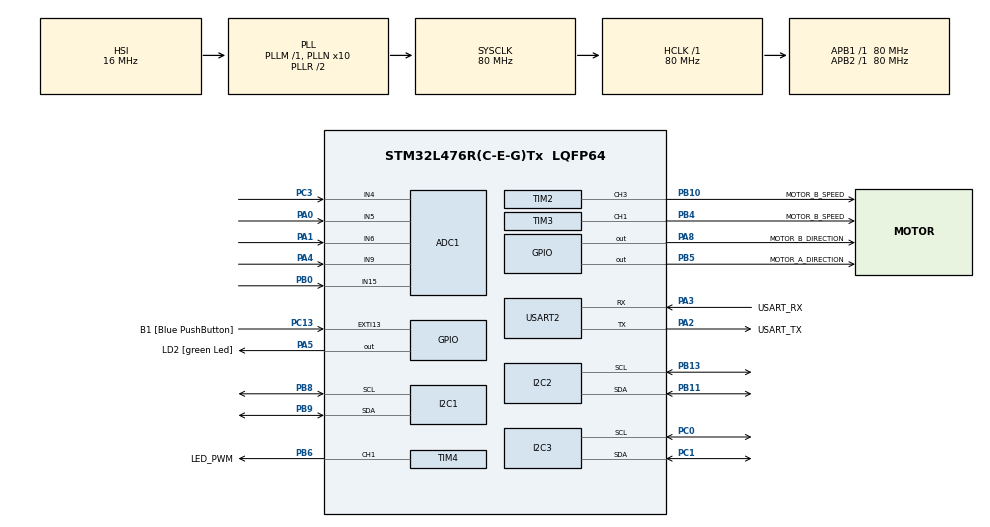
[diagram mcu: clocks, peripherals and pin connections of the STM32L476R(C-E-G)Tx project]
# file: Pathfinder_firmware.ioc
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ADC1.Channel-0\#ChannelRegularConversion=ADC_CHANNEL_4
ADC1.Channel-1\#ChannelRegularConversion=ADC_CHANNEL_5
ADC1.Channel-2\#ChannelRegularConversion=ADC_CHANNEL_6
ADC1.Channel-3\#ChannelRegularConversion=ADC_CHANNEL_9
ADC1.Channel-4\#ChannelRegularConversion=ADC_CHANNEL_15
ADC1.NbrOfConversion=5
ADC1.NbrOfConversionFlag=1
ADC1.OffsetNumber-0\#ChannelRegularConversion=ADC_OFFSET_NONE
ADC1.OffsetNumber-1\#ChannelRegularConversion=ADC_OFFSET_NONE
ADC1.OffsetNumber-2\#ChannelRegularConversion=ADC_OFFSET_NONE
ADC1.OffsetNumber-3\#ChannelRegularConversion=ADC_OFFSET_NONE
ADC1.OffsetNumber-4\#ChannelRegularConversion=ADC_OFFSET_NONE
ADC1.Rank-0\#ChannelRegularConversion=1
ADC1.Rank-1\#ChannelRegularConversion=2
ADC1.Rank-2\#ChannelRegularConversion=3
ADC1.Rank-3\#ChannelRegularConversion=4
ADC1.Rank-4\#ChannelRegularConversion=5
ADC1.SamplingTime-0\#ChannelRegularConversion=ADC_SAMPLETIME_640CYCLES_5
ADC1.SamplingTime-1\#ChannelRegularConversion=ADC_SAMPLETIME_640CYCLES_5
ADC1.SamplingTime-2\#ChannelRegularConversion=ADC_SAMPLETIME_640CYCLES_5
ADC1.SamplingTime-3\#ChannelRegularConversion=ADC_SAMPLETIME_640CYCLES_5
ADC1.SamplingTime-4\#ChannelRegularConversion=ADC_SAMPLETIME_640CYCLES_5
ADC1.master=1
I2C1.Timing=0x10D19CE4
I2C2.Timing=0x10D19CE4
I2C3.Timing=0x10D19CE4
Mcu.Family=STM32L4
Mcu.Name=STM32L476R(C-E-G)Tx
Mcu.Package=LQFP64
NVIC.PriorityGroup=NVIC_PRIORITYGROUP_4
NVIC.USART2_IRQn=true\:1\:0\:true\:false\:true\:true\:true\:true
PA0.Signal=ADCx_IN5
PA1.Signal=ADCx_IN6
PA13\ (JTMS-SWDIO).GPIO_Label=TMS
PA13\ (JTMS-SWDIO).Mode=Serial_Wire
PA13\ (JTMS-SWDIO).Signal=SYS_JTMS-SWDIO
PA14\ (JTCK-SWCLK).GPIO_Label=TCK
PA14\ (JTCK-SWCLK).Mode=Serial_Wire
PA14\ (JTCK-SWCLK).Signal=SYS_JTCK-SWCLK
PA2.GPIO_Label=USART_TX
PA2.GPIO_Mode=GPIO_MODE_AF_PP
PA2.GPIO_PuPd=GPIO_NOPULL
PA2.GPIO_Speed=GPIO_SPEED_FREQ_VERY_HIGH
PA2.Mode=Asynchronous
PA2.Signal=USART2_TX
PA3.GPIO_Label=USART_RX
PA3.GPIO_Mode=GPIO_MODE_AF_PP
PA3.GPIO_PuPd=GPIO_NOPULL
PA3.GPIO_Speed=GPIO_SPEED_FREQ_VERY_HIGH
PA3.Mode=Asynchronous
PA3.Signal=USART2_RX
PA4.Signal=ADCx_IN9
PA5.GPIO_Label=LD2 [green Led]
PA5.GPIO_ModeDefaultOutputPP=GPIO_MODE_OUTPUT_PP
PA5.GPIO_PuPd=GPIO_NOPULL
PA5.GPIO_Speed=GPIO_SPEED_FREQ_LOW
PA5.Signal=GPIO_Output
PA8.GPIO_Label=MOTOR_B_DIRECTION
PA8.Signal=GPIO_Output
PB0.Signal=ADCx_IN15
PB10.GPIO_Label=MOTOR_B_SPEED
PB10.Signal=S_TIM2_CH3
PB11.Mode=I2C
PB11.Signal=I2C2_SDA
PB13.Mode=I2C
PB13.Signal=I2C2_SCL
PB3\ (JTDO-TRACESWO).GPIO_Label=SWO
PB3\ (JTDO-TRACESWO).Signal=SYS_JTDO-SWO
PB4\ (NJTRST).GPIO_Label=MOTOR_B_SPEED
PB4\ (NJTRST).Signal=S_TIM3_CH1
PB5.GPIO_Label=MOTOR_A_DIRECTION
PB5.Signal=GPIO_Output
PB6.GPIO_Label=LED_PWM
PB6.Signal=S_TIM4_CH1
PB8.Mode=I2C
PB8.Signal=I2C1_SCL
PB9.Mode=I2C
PB9.Signal=I2C1_SDA
PC0.Mode=I2C
PC0.Signal=I2C3_SCL
PC1.Mode=I2C
PC1.Signal=I2C3_SDA
PC13.GPIO_Label=B1 [Blue PushButton]
PC13.GPIO_ModeDefaultEXTI=GPIO_MODE_IT_FALLING
PC13.GPIO_PuPd=GPIO_NOPULL
PC13.Signal=GPXTI13
PC14-OSC32_IN\ (PC14).Mode=LSE-External-Oscillator
PC14-OSC32_IN\ (PC14).Signal=RCC_OSC32_IN
PC15-OSC32_OUT\ (PC15).Mode=LSE-External-Oscillator
PC15-OSC32_OUT\ (PC15).Signal=RCC_OSC32_OUT
PC3.Signal=ADCx_IN4
PH0-OSC_IN\ (PH0).Signal=RCC_OSC_IN
PH1-OSC_OUT\ (PH1).Signal=RCC_OSC_OUT
ProjectManager.HeapSize=0x200
ProjectManager.StackSize=0x400
ProjectManager.TargetToolchain=STM32CubeIDE
RCC.ADCFreq_Value=64000000
RCC.AHBFreq_Value=80000000
RCC.APB1Freq_Value=80000000
RCC.APB1TimFreq_Value=80000000
RCC.APB2Freq_Value=80000000
RCC.APB2TimFreq_Value=80000000
RCC.CortexFreq_Value=80000000
RCC.HCLKFreq_Value=80000000
RCC.HSE_VALUE=8000000
RCC.HSI_VALUE=16000000
RCC.MSI_VALUE=4000000
RCC.PLLN=10
RCC.PLLSourceVirtual=RCC_PLLSOURCE_HSI
RCC.PREFETCH_ENABLE=1
RCC.SYSCLKFreq_VALUE=80000000
RCC.SYSCLKSource=RCC_SYSCLKSOURCE_PLLCLK
RCC.USBFreq_Value=64000000
RCC.VCOOutputFreq_Value=160000000
SH.ADCx_IN15.0=ADC1_IN15,IN15-Single-Ended
SH.ADCx_IN4.0=ADC1_IN4,IN4-Single-Ended
SH.ADCx_IN5.0=ADC1_IN5,IN5-Single-Ended
SH.ADCx_IN6.0=ADC1_IN6,IN6-Single-Ended
SH.ADCx_IN9.0=ADC1_IN9,IN9-Single-Ended
SH.S_TIM2_CH3.0=TIM2_CH3,PWM Generation3 CH3
SH.S_TIM3_CH1.0=TIM3_CH1,PWM Generation1 CH1
SH.S_TIM4_CH1.0=TIM4_CH1,PWM Generation1 CH1
TIM2.AutoReloadPreload=TIM_AUTORELOAD_PRELOAD_ENABLE
TIM2.Channel-PWM\ Generation3\ CH3=TIM_CHANNEL_3
TIM2.Period=99
TIM2.Prescaler=39
TIM3.AutoReloadPreload=TIM_AUTORELOAD_PRELOAD_ENABLE
TIM3.Channel-PWM\ Generation1\ CH1=TIM_CHANNEL_1
TIM3.Period=99
TIM3.Prescaler=39
TIM4.AutoReloadPreload=TIM_AUTORELOAD_PRELOAD_ENABLE
TIM4.Channel-PWM\ Generation1\ CH1=TIM_CHANNEL_1
TIM4.Period=99
TIM4.Prescaler=39
USART2.VirtualMode-Asynchronous=VM_ASYNC
VP_TIM2_VS_ClockSourceINT.Mode=Internal
VP_TIM3_VS_ClockSourceINT.Mode=Internal
VP_TIM4_VS_ClockSourceINT.Mode=Internal
board=NUCLEO-L476RG

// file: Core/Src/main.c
/* USER CODE BEGIN Header */
/**
  ******************************************************************************
  * @file           : main.c
  * @brief          : Main program body
  ******************************************************************************
  * @attention
  *
  * Copyright (c) 2024 STMicroelectronics.
  * All rights reserved.
  *
  * This software is licensed under terms that can be found in the LICENSE file
  * in the root directory of this software component.
  * If no LICENSE file comes with this software, it is provided AS-IS.
  *
  ******************************************************************************
  */
/* USER CODE END Header */
#include "main.h"

/* USER CODE BEGIN Includes */
#include <stdlib.h>
#include <string.h>
#include "robot.pb.h"
#include "pb_encode.h"
#include <math.h>
#include "cJSON.h"
/* USER CODE END Includes */

/* USER CODE BEGIN PD */
#define MPU6050_ADDR (0x68 << 1)
#define AS5600_I2C_ADDR (0x36 << 1)
#define WHEEL_RADIUS  0.03  // 3 cm
#define WHEEL_BASE    0.175  // 15 cm
#define TICKS_PER_REV 4096  // AS5600 resolution
#define ACCEL_SCALE 16384.0 // 16384 LSB/g for ±2g
#define GYRO_SCALE  131.0   // 131 LSB/(°/s) for ±250°/s
#define TEMP_SCALE  340.0
#define TEMP_OFFSET 36.53
/* USER CODE END PD */

ADC_HandleTypeDef hadc1;

I2C_HandleTypeDef hi2c1;
I2C_HandleTypeDef hi2c2;
I2C_HandleTypeDef hi2c3;

TIM_HandleTypeDef htim2;
TIM_HandleTypeDef htim3;
TIM_HandleTypeDef htim4;

UART_HandleTypeDef huart2;

/* USER CODE BEGIN PV */
uint8_t low_bytes_angle_data = 0;
uint8_t high_bytes_angle_data = 0;
volatile uint16_t raw_angle;

uint8_t low_bytes_angle_data_2 = 0;
uint8_t high_bytes_angle_data_2 = 0;
volatile uint16_t raw_angle_2;

uint8_t sign;
uint8_t receivedSign;
uint8_t messageCursor = 0;
uint8_t frameCursor = 0;
char messageReceived[50];
uint64_t frameReceived[10];
float sensorsValues[5];
char msg[100];

float x_pos = 0.0, y_pos = 0.0, theta = 0.0;
uint16_t prev_angle_L = 0, prev_angle_R = 0;

int16_t Accel[3], Gyro[3], Temp;
float Accel_f[3], Gyro_f[3], Temp_f;

enum Communication{
	EMERGENCY_STOP,
	MOVE_FORWARD,
	MOVE_REVERSE,
	TURN_LEFT,
	TURN_RIGHT,
	SET_MOVMENT_SPEED,
	GET_ROBOT_DATA = 7,
	SET_LED_BRIGHTNESS

};

//typedef struct {
//    int sensorValue1;
//    int sensorValue2;
//    int sensorValue3;
//    int sensorValue4;
//    int sensorValue5;
//    float xPos;
//    float yPos;
//    float theta;
//} RobotData;

void setMovmentSpeed(int motorA,int motorB) {
	uint8_t motorAOutput = motorA;
	uint8_t motorBOutput = motorB;
	if(motorA<=100)HAL_GPIO_WritePin(MOTOR_A_DIRECTION_GPIO_Port,MOTOR_A_DIRECTION_Pin , GPIO_PIN_RESET);
	else
	{
		HAL_GPIO_WritePin(MOTOR_A_DIRECTION_GPIO_Port,MOTOR_A_DIRECTION_Pin , GPIO_PIN_SET);
		motorAOutput = motorAOutput - 100;
	}

	if(motorB<=100)HAL_GPIO_WritePin(MOTOR_B_DIRECTION_GPIO_Port,MOTOR_B_DIRECTION_Pin , GPIO_PIN_RESET);
	else
	{
		HAL_GPIO_WritePin(MOTOR_B_DIRECTION_GPIO_Port,MOTOR_B_DIRECTION_Pin , GPIO_PIN_SET);
		motorBOutput = motorBOutput - 100;
	}

	if(motorA!=0){
			__HAL_TIM_SET_COMPARE(&htim3,TIM_CHANNEL_1,motorAOutput);
	}
	else
	{
		__HAL_TIM_SET_COMPARE(&htim3,TIM_CHANNEL_1,0);
	}

	if(motorB!=0){
		__HAL_TIM_SET_COMPARE(&htim2,TIM_CHANNEL_3,motorBOutput);
	}
	else
	{
		__HAL_TIM_SET_COMPARE(&htim2,TIM_CHANNEL_3,0);
	}

}
void emergencyStop() {
	HAL_GPIO_WritePin(MOTOR_A_DIRECTION_GPIO_Port,MOTOR_A_DIRECTION_Pin , GPIO_PIN_RESET);
	HAL_GPIO_WritePin(MOTOR_B_DIRECTION_GPIO_Port,MOTOR_B_DIRECTION_Pin , GPIO_PIN_RESET);

	__HAL_TIM_SET_COMPARE(&htim2,TIM_CHANNEL_3,0);
	__HAL_TIM_SET_COMPARE(&htim3,TIM_CHANNEL_1,0);
}

void moveForward() {
	HAL_GPIO_WritePin(MOTOR_A_DIRECTION_GPIO_Port,MOTOR_A_DIRECTION_Pin , GPIO_PIN_SET);
	HAL_GPIO_WritePin(MOTOR_B_DIRECTION_GPIO_Port,MOTOR_B_DIRECTION_Pin , GPIO_PIN_RESET);

	__HAL_TIM_SET_COMPARE(&htim2,TIM_CHANNEL_3,100);
	__HAL_TIM_SET_COMPARE(&htim3,TIM_CHANNEL_1,100);
}

void moveReverse() {
	HAL_GPIO_WritePin(MOTOR_A_DIRECTION_GPIO_Port,MOTOR_A_DIRECTION_Pin , GPIO_PIN_RESET);
	HAL_GPIO_WritePin(MOTOR_B_DIRECTION_GPIO_Port,MOTOR_B_DIRECTION_Pin , GPIO_PIN_SET);

	__HAL_TIM_SET_COMPARE(&htim2,TIM_CHANNEL_3,100);
	__HAL_TIM_SET_COMPARE(&htim3,TIM_CHANNEL_1,100);
}

void turnRight() {
	HAL_GPIO_WritePin(MOTOR_A_DIRECTION_GPIO_Port,MOTOR_A_DIRECTION_Pin , GPIO_PIN_RESET);
	HAL_GPIO_WritePin(MOTOR_B_DIRECTION_GPIO_Port,MOTOR_B_DIRECTION_Pin , GPIO_PIN_RESET);

	__HAL_TIM_SET_COMPARE(&htim2,TIM_CHANNEL_3,100);
	__HAL_TIM_SET_COMPARE(&htim3,TIM_CHANNEL_1,100);
}
void turnLeft() {
	HAL_GPIO_WritePin(MOTOR_A_DIRECTION_GPIO_Port,MOTOR_A_DIRECTION_Pin , GPIO_PIN_SET);
	HAL_GPIO_WritePin(MOTOR_B_DIRECTION_GPIO_Port,MOTOR_B_DIRECTION_Pin , GPIO_PIN_SET);

	__HAL_TIM_SET_COMPARE(&htim2,TIM_CHANNEL_3,100);
	__HAL_TIM_SET_COMPARE(&htim3,TIM_CHANNEL_1,100);
}
void getEncoderValue(){
	HAL_I2C_Mem_Read(&hi2c3, AS5600_I2C_ADDR, 0x0D, 1, &low_bytes_angle_data, sizeof(low_bytes_angle_data), HAL_MAX_DELAY);
	HAL_I2C_Mem_Read(&hi2c3, AS5600_I2C_ADDR, 0x0C, 1, &high_bytes_angle_data, sizeof(high_bytes_angle_data), HAL_MAX_DELAY);
	raw_angle = ((high_bytes_angle_data<< 8) | low_bytes_angle_data) & 0x0FFF;
	HAL_I2C_Mem_Read(&hi2c1, AS5600_I2C_ADDR, 0x0D, 1, &low_bytes_angle_data_2, sizeof(low_bytes_angle_data_2), HAL_MAX_DELAY);
	HAL_I2C_Mem_Read(&hi2c1, AS5600_I2C_ADDR, 0x0C, 1, &high_bytes_angle_data_2, sizeof(high_bytes_angle_data_2), HAL_MAX_DELAY);
	raw_angle_2 = ((high_bytes_angle_data_2<< 8) | low_bytes_angle_data_2) & 0x0FFF;
}

void MPU6050_Init() {
    uint8_t check, data;

    // Check if MPU6050 is connected
    HAL_I2C_Mem_Read(&hi2c2, MPU6050_ADDR, 0x75, 1, &check, 1, 1000);
    if (check != 0x68) {
        // MPU6050 not found, handle error
        return;
    }

    // Wake up MPU6050 (Write 0 to Power Management Register)
    data = 0x00;
    HAL_I2C_Mem_Write(&hi2c2, MPU6050_ADDR, 0x6B, 1, &data, 1, 1000);

    // Set accelerometer configuration (±2g)
    data = 0x00;
    HAL_I2C_Mem_Write(&hi2c2, MPU6050_ADDR, 0x1C, 1, &data, 1, 1000);

    // Set gyroscope configuration (±250°/s)
    data = 0x00;
    HAL_I2C_Mem_Write(&hi2c2, MPU6050_ADDR, 0x1B, 1, &data, 1, 1000);
}

void MPU6050_Read_All(int16_t *Accel, int16_t *Gyro, int16_t *Temp) {
    uint8_t data[14];

    // Read 14 bytes from MPU6050 starting at ACCEL_XOUT_H
    HAL_I2C_Mem_Read(&hi2c2, MPU6050_ADDR, 0x3B, 1, data, 14, 1000);

    // Accelerometer values
    Accel[0] = (int16_t)(data[0] << 8 | data[1]);  // X
    Accel[1] = (int16_t)(data[2] << 8 | data[3]);  // Y
    Accel[2] = (int16_t)(data[4] << 8 | data[5]);  // Z

    // Temperature value
    *Temp = (int16_t)(data[6] << 8 | data[7]);

    // Gyroscope values
    Gyro[0] = (int16_t)(data[8] << 8 | data[9]);   // X
    Gyro[1] = (int16_t)(data[10] << 8 | data[11]); // Y
    Gyro[2] = (int16_t)(data[12] << 8 | data[13]); // Z
}

void getSensorValues(){
	HAL_ADC_Start(&hadc1);
	HAL_ADC_PollForConversion(&hadc1, 100);
	sensorsValues[0] = HAL_ADC_GetValue(&hadc1);
	HAL_ADC_PollForConversion(&hadc1, 100);
	sensorsValues[1] = HAL_ADC_GetValue(&hadc1);
	HAL_ADC_PollForConversion(&hadc1, 100);
	sensorsValues[2] = HAL_ADC_GetValue(&hadc1);
	HAL_ADC_PollForConversion(&hadc1, 100);
	sensorsValues[3] = HAL_ADC_GetValue(&hadc1);
	HAL_ADC_PollForConversion(&hadc1, 100);
	sensorsValues[4] = HAL_ADC_GetValue(&hadc1);
//	sprintf(msg, "%f,%f,%f,%f,%f\r\n",sensorsValues[0], sensorsValues[1], sensorsValues[2], sensorsValues[3], sensorsValues[4]);
//	HAL_UART_Transmit_IT(&huart2, (uint8_t*)msg , strlen(msg));

}
void setLedBrightness(int brightness) {
	__HAL_TIM_SET_COMPARE(&htim4,TIM_CHANNEL_1,brightness);
}

float computeDeltaAngle(uint16_t new_angle, uint16_t prev_angle) {
    int16_t delta = new_angle - prev_angle;

    // Handle encoder overflow (angle wrapping)
    if (delta > (TICKS_PER_REV / 2)) {
        delta -= TICKS_PER_REV;  // Counterclockwise overflow
    } else if (delta < -(TICKS_PER_REV / 2)) {
        delta += TICKS_PER_REV;  // Clockwise overflow
    }

    // Convert to radians
    return (delta * 2.0f * M_PI) / TICKS_PER_REV;
}

void updateRobotPosition() {
    // Read new encoder values
    getEncoderValue();

    // Compute angle changes
    float delta_angle_L = computeDeltaAngle(raw_angle, prev_angle_L);
    float delta_angle_R = computeDeltaAngle(raw_angle_2, prev_angle_R);

    // Convert to linear displacement
    float d_L = delta_angle_L * WHEEL_RADIUS;
    float d_R = delta_angle_R * WHEEL_RADIUS;
    float d_C = (d_L + d_R) / 2.0;  // Center displacement
    float d_theta = (d_R - d_L) / WHEEL_BASE;  // Change in orientation

    // Update position
    x_pos += d_C * cos(theta);
    y_pos += d_C * sin(theta);
    theta += d_theta;

    // Keep theta in range [-π, π]
    if (theta > M_PI) {
        theta -= 2.0 * M_PI;
    } else if (theta < -M_PI) {
        theta += 2.0 * M_PI;
    }

    // Store previous angles
    prev_angle_L = raw_angle;
    prev_angle_R = raw_angle_2;
}

void sendRobotData() {
	cJSON *jsonObj = cJSON_CreateObject();

	cJSON_AddNumberToObject(jsonObj, "sensorValue1", sensorsValues[0]);
	cJSON_AddNumberToObject(jsonObj, "sensorValue2", sensorsValues[1]);
	cJSON_AddNumberToObject(jsonObj, "sensorValue3", sensorsValues[2]);
	cJSON_AddNumberToObject(jsonObj, "sensorValue4", sensorsValues[3]);
	cJSON_AddNumberToObject(jsonObj, "sensorValue5", sensorsValues[4]);
	cJSON_AddNumberToObject(jsonObj, "xPos", x_pos);
	cJSON_AddNumberToObject(jsonObj, "yPos", y_pos);
	cJSON_AddNumberToObject(jsonObj, "theta", theta);
	cJSON_AddNumberToObject(jsonObj, "rawAngle1", raw_angle);
	cJSON_AddNumberToObject(jsonObj, "rawAngle2", raw_angle_2);
	cJSON_AddNumberToObject(jsonObj, "xGyro", Gyro_f[0]);
	cJSON_AddNumberToObject(jsonObj, "yGyro", Gyro_f[1]);
	cJSON_AddNumberToObject(jsonObj, "zGyro", Gyro_f[2]);

	cJSON_AddNumberToObject(jsonObj, "xAccel", Accel_f[0]);
	cJSON_AddNumberToObject(jsonObj, "yAccel", Accel_f[1]);
	cJSON_AddNumberToObject(jsonObj, "zAccel", Accel_f[2]);

	cJSON_AddNumberToObject(jsonObj, "Temp", Temp_f);

	    // Convert JSON object to string
	char *jsonString = cJSON_PrintUnformatted(jsonObj);

	// Send JSON string via UART (or any other communication interface)
	// Allocate new buffer: length of JSON + 1 for '\n' + 1 for '\0'
	size_t len = strlen(jsonString);
	char *jsonWithNewline = malloc(len + 2);  // +2 for '\n' and '\0'

	if (jsonWithNewline != NULL) {
	    memcpy(jsonWithNewline, jsonString, len);  // Copy original string
	    jsonWithNewline[len] = '\n';               // Add newline
	    jsonWithNewline[len + 1] = '\0';           // Null terminator

	    HAL_UART_Transmit(&huart2, (uint8_t*)jsonWithNewline, len + 1, 100);  // len+1 includes \n
	    free(jsonWithNewline);
	}

	// Free the JSON object after use
	cJSON_Delete(jsonObj);
	free(jsonString);
}

void Convert_To_Units(int16_t *Accel, int16_t *Gyro, int16_t Temp, float *Accel_f, float *Gyro_f, float *Temp_f) {
    for (int i = 0; i < 3; i++) {
        Accel_f[i] = Accel[i] / ACCEL_SCALE; // g
        Gyro_f[i]  = Gyro[i]  / GYRO_SCALE;  // °/s
    }
    *Temp_f = (Temp / TEMP_SCALE) + TEMP_OFFSET; // °C
}

void Encoders_Init() {
    prev_angle_L = raw_angle;
    prev_angle_R = raw_angle_2;
}

//void sendRobotData2() {
//    uint8_t buffer[128];  // Increased buffer size for more data
//    pb_ostream_t stream = pb_ostream_from_buffer(buffer, sizeof(buffer));
//
//    // Fill Protobuf message
//    RobotData pos = {
//        .sensor_value_1 = sensorsValues[0],
//        .sensor_value_2 = sensorsValues[1],
//        .sensor_value_3 = sensorsValues[2],
//        .sensor_value_4 = sensorsValues[3],
//        .sensor_value_5 = sensorsValues[4],
//        .raw_angle_1 = raw_angle,  // Read from AS5600
//        .raw_angle_2 = raw_angle_2,
//        .x_pos = x_pos,  // Computed position
//        .y_pos = y_pos,
//        .theta = theta
//    };
//
//    // Serialize the data
//    if (!pb_encode(&stream, RobotData_fields, &pos)) {
//        printf("Encoding failed!\n");
//        return;
//    }
//
//    // Send serialized data over UART
//    HAL_UART_Transmit_IT(&huart2, buffer, stream.bytes_written);
//}

/* USER CODE END PV */

void SystemClock_Config(void);
static void MX_GPIO_Init(void);
static void MX_USART2_UART_Init(void);
static void MX_TIM2_Init(void);
static void MX_TIM3_Init(void);
static void MX_TIM4_Init(void);
static void MX_ADC1_Init(void);
static void MX_I2C1_Init(void);
static void MX_I2C3_Init(void);
static void MX_I2C2_Init(void);

int main(void)
{

  /* MCU Configuration--------------------------------------------------------*/

  /* Reset of all peripherals, Initializes the Flash interface and the Systick. */
  HAL_Init();

  /* Configure the system clock */
  SystemClock_Config();

  /* Initialize all configured peripherals */
  MX_GPIO_Init();
  MX_USART2_UART_Init();
  MX_TIM2_Init();
  MX_TIM3_Init();
  MX_TIM4_Init();
  MX_ADC1_Init();
  MX_I2C1_Init();
  MX_I2C3_Init();
  MX_I2C2_Init();
  /* USER CODE BEGIN 2 */
  HAL_UART_Receive_IT(&huart2, &receivedSign, 1);
  HAL_TIM_PWM_Start(&htim2, TIM_CHANNEL_3);
  HAL_TIM_PWM_Start(&htim3, TIM_CHANNEL_1);
  HAL_TIM_PWM_Start(&htim4, TIM_CHANNEL_1);
  HAL_ADCEx_Calibration_Start(&hadc1, ADC_SINGLE_ENDED);

  MPU6050_Init();

  Encoders_Init();

  /* USER CODE END 2 */

  /* Infinite loop */
  /* USER CODE BEGIN WHILE */
  while (1)
  {
	  MPU6050_Read_All(Accel, Gyro, &Temp);
	  Convert_To_Units(Accel, Gyro, Temp, Accel_f, Gyro_f, &Temp_f);
	  updateRobotPosition();
	  getSensorValues();
	  sendRobotData();

    /* USER CODE END WHILE */

  }
}

void SystemClock_Config(void)
{
  RCC_OscInitTypeDef RCC_OscInitStruct = {0};
  RCC_ClkInitTypeDef RCC_ClkInitStruct = {0};

  /** Configure the main internal regulator output voltage
  */
  if (HAL_PWREx_ControlVoltageScaling(PWR_REGULATOR_VOLTAGE_SCALE1) != HAL_OK)
  {
    Error_Handler();
  }

  /** Initializes the RCC Oscillators according to the specified parameters
  * in the RCC_OscInitTypeDef structure.
  */
  RCC_OscInitStruct.OscillatorType = RCC_OSCILLATORTYPE_HSI;
  RCC_OscInitStruct.HSIState = RCC_HSI_ON;
  RCC_OscInitStruct.HSICalibrationValue = RCC_HSICALIBRATION_DEFAULT;
  RCC_OscInitStruct.PLL.PLLState = RCC_PLL_ON;
  RCC_OscInitStruct.PLL.PLLSource = RCC_PLLSOURCE_HSI;
  RCC_OscInitStruct.PLL.PLLM = 1;
  RCC_OscInitStruct.PLL.PLLN = 10;
  RCC_OscInitStruct.PLL.PLLP = RCC_PLLP_DIV7;
  RCC_OscInitStruct.PLL.PLLQ = RCC_PLLQ_DIV2;
  RCC_OscInitStruct.PLL.PLLR = RCC_PLLR_DIV2;
  if (HAL_RCC_OscConfig(&RCC_OscInitStruct) != HAL_OK)
  {
    Error_Handler();
  }

  /** Initializes the CPU, AHB and APB buses clocks
  */
  RCC_ClkInitStruct.ClockType = RCC_CLOCKTYPE_HCLK|RCC_CLOCKTYPE_SYSCLK
                              |RCC_CLOCKTYPE_PCLK1|RCC_CLOCKTYPE_PCLK2;
  RCC_ClkInitStruct.SYSCLKSource = RCC_SYSCLKSOURCE_PLLCLK;
  RCC_ClkInitStruct.AHBCLKDivider = RCC_SYSCLK_DIV1;
  RCC_ClkInitStruct.APB1CLKDivider = RCC_HCLK_DIV1;
  RCC_ClkInitStruct.APB2CLKDivider = RCC_HCLK_DIV1;

  if (HAL_RCC_ClockConfig(&RCC_ClkInitStruct, FLASH_LATENCY_4) != HAL_OK)
  {
    Error_Handler();
  }
}

static void MX_ADC1_Init(void)
{

  ADC_MultiModeTypeDef multimode = {0};
  ADC_ChannelConfTypeDef sConfig = {0};

  /** Common config
  */
  hadc1.Instance = ADC1;
  hadc1.Init.ClockPrescaler = ADC_CLOCK_ASYNC_DIV1;
  hadc1.Init.Resolution = ADC_RESOLUTION_12B;
  hadc1.Init.DataAlign = ADC_DATAALIGN_RIGHT;
  hadc1.Init.ScanConvMode = ADC_SCAN_ENABLE;
  hadc1.Init.EOCSelection = ADC_EOC_SINGLE_CONV;
  hadc1.Init.LowPowerAutoWait = DISABLE;
  hadc1.Init.ContinuousConvMode = DISABLE;
  hadc1.Init.NbrOfConversion = 5;
  hadc1.Init.DiscontinuousConvMode = DISABLE;
  hadc1.Init.ExternalTrigConv = ADC_SOFTWARE_START;
  hadc1.Init.ExternalTrigConvEdge = ADC_EXTERNALTRIGCONVEDGE_NONE;
  hadc1.Init.DMAContinuousRequests = DISABLE;
  hadc1.Init.Overrun = ADC_OVR_DATA_PRESERVED;
  hadc1.Init.OversamplingMode = DISABLE;
  if (HAL_ADC_Init(&hadc1) != HAL_OK)
  {
    Error_Handler();
  }

  /** Configure the ADC multi-mode
  */
  multimode.Mode = ADC_MODE_INDEPENDENT;
  if (HAL_ADCEx_MultiModeConfigChannel(&hadc1, &multimode) != HAL_OK)
  {
    Error_Handler();
  }

  /** Configure Regular Channel
  */
  sConfig.Channel = ADC_CHANNEL_4;
  sConfig.Rank = ADC_REGULAR_RANK_1;
  sConfig.SamplingTime = ADC_SAMPLETIME_640CYCLES_5;
  sConfig.SingleDiff = ADC_SINGLE_ENDED;
  sConfig.OffsetNumber = ADC_OFFSET_NONE;
  sConfig.Offset = 0;
  if (HAL_ADC_ConfigChannel(&hadc1, &sConfig) != HAL_OK)
  {
    Error_Handler();
  }

  /** Configure Regular Channel
  */
  sConfig.Channel = ADC_CHANNEL_5;
  sConfig.Rank = ADC_REGULAR_RANK_2;
  if (HAL_ADC_ConfigChannel(&hadc1, &sConfig) != HAL_OK)
  {
    Error_Handler();
  }

  /** Configure Regular Channel
  */
  sConfig.Channel = ADC_CHANNEL_6;
  sConfig.Rank = ADC_REGULAR_RANK_3;
  if (HAL_ADC_ConfigChannel(&hadc1, &sConfig) != HAL_OK)
  {
    Error_Handler();
  }

  /** Configure Regular Channel
  */
  sConfig.Channel = ADC_CHANNEL_9;
  sConfig.Rank = ADC_REGULAR_RANK_4;
  if (HAL_ADC_ConfigChannel(&hadc1, &sConfig) != HAL_OK)
  {
    Error_Handler();
  }

  /** Configure Regular Channel
  */
  sConfig.Channel = ADC_CHANNEL_15;
  sConfig.Rank = ADC_REGULAR_RANK_5;
  if (HAL_ADC_ConfigChannel(&hadc1, &sConfig) != HAL_OK)
  {
    Error_Handler();
  }

}

static void MX_I2C1_Init(void)
{

  hi2c1.Instance = I2C1;
  hi2c1.Init.Timing = 0x10D19CE4;
  hi2c1.Init.OwnAddress1 = 0;
  hi2c1.Init.AddressingMode = I2C_ADDRESSINGMODE_7BIT;
  hi2c1.Init.DualAddressMode = I2C_DUALADDRESS_DISABLE;
  hi2c1.Init.OwnAddress2 = 0;
  hi2c1.Init.OwnAddress2Masks = I2C_OA2_NOMASK;
  hi2c1.Init.GeneralCallMode = I2C_GENERALCALL_DISABLE;
  hi2c1.Init.NoStretchMode = I2C_NOSTRETCH_DISABLE;
  if (HAL_I2C_Init(&hi2c1) != HAL_OK)
  {
    Error_Handler();
  }

  /** Configure Analogue filter
  */
  if (HAL_I2CEx_ConfigAnalogFilter(&hi2c1, I2C_ANALOGFILTER_ENABLE) != HAL_OK)
  {
    Error_Handler();
  }

  /** Configure Digital filter
  */
  if (HAL_I2CEx_ConfigDigitalFilter(&hi2c1, 0) != HAL_OK)
  {
    Error_Handler();
  }

}

static void MX_I2C2_Init(void)
{

  hi2c2.Instance = I2C2;
  hi2c2.Init.Timing = 0x10D19CE4;
  hi2c2.Init.OwnAddress1 = 0;
  hi2c2.Init.AddressingMode = I2C_ADDRESSINGMODE_7BIT;
  hi2c2.Init.DualAddressMode = I2C_DUALADDRESS_DISABLE;
  hi2c2.Init.OwnAddress2 = 0;
  hi2c2.Init.OwnAddress2Masks = I2C_OA2_NOMASK;
  hi2c2.Init.GeneralCallMode = I2C_GENERALCALL_DISABLE;
  hi2c2.Init.NoStretchMode = I2C_NOSTRETCH_DISABLE;
  if (HAL_I2C_Init(&hi2c2) != HAL_OK)
  {
    Error_Handler();
  }

  /** Configure Analogue filter
  */
  if (HAL_I2CEx_ConfigAnalogFilter(&hi2c2, I2C_ANALOGFILTER_ENABLE) != HAL_OK)
  {
    Error_Handler();
  }

  /** Configure Digital filter
  */
  if (HAL_I2CEx_ConfigDigitalFilter(&hi2c2, 0) != HAL_OK)
  {
    Error_Handler();
  }

}

static void MX_I2C3_Init(void)
{

  hi2c3.Instance = I2C3;
  hi2c3.Init.Timing = 0x10D19CE4;
  hi2c3.Init.OwnAddress1 = 0;
  hi2c3.Init.AddressingMode = I2C_ADDRESSINGMODE_7BIT;
  hi2c3.Init.DualAddressMode = I2C_DUALADDRESS_DISABLE;
  hi2c3.Init.OwnAddress2 = 0;
  hi2c3.Init.OwnAddress2Masks = I2C_OA2_NOMASK;
  hi2c3.Init.GeneralCallMode = I2C_GENERALCALL_DISABLE;
  hi2c3.Init.NoStretchMode = I2C_NOSTRETCH_DISABLE;
  if (HAL_I2C_Init(&hi2c3) != HAL_OK)
  {
    Error_Handler();
  }

  /** Configure Analogue filter
  */
  if (HAL_I2CEx_ConfigAnalogFilter(&hi2c3, I2C_ANALOGFILTER_ENABLE) != HAL_OK)
  {
    Error_Handler();
  }

  /** Configure Digital filter
  */
  if (HAL_I2CEx_ConfigDigitalFilter(&hi2c3, 0) != HAL_OK)
  {
    Error_Handler();
  }

}

static void MX_TIM2_Init(void)
{

  TIM_ClockConfigTypeDef sClockSourceConfig = {0};
  TIM_MasterConfigTypeDef sMasterConfig = {0};
  TIM_OC_InitTypeDef sConfigOC = {0};

  htim2.Instance = TIM2;
  htim2.Init.Prescaler = 39;
  htim2.Init.CounterMode = TIM_COUNTERMODE_UP;
  htim2.Init.Period = 99;
  htim2.Init.ClockDivision = TIM_CLOCKDIVISION_DIV1;
  htim2.Init.AutoReloadPreload = TIM_AUTORELOAD_PRELOAD_ENABLE;
  if (HAL_TIM_Base_Init(&htim2) != HAL_OK)
  {
    Error_Handler();
  }
  sClockSourceConfig.ClockSource = TIM_CLOCKSOURCE_INTERNAL;
  if (HAL_TIM_ConfigClockSource(&htim2, &sClockSourceConfig) != HAL_OK)
  {
    Error_Handler();
  }
  if (HAL_TIM_PWM_Init(&htim2) != HAL_OK)
  {
    Error_Handler();
  }
  sMasterConfig.MasterOutputTrigger = TIM_TRGO_RESET;
  sMasterConfig.MasterSlaveMode = TIM_MASTERSLAVEMODE_DISABLE;
  if (HAL_TIMEx_MasterConfigSynchronization(&htim2, &sMasterConfig) != HAL_OK)
  {
    Error_Handler();
  }
  sConfigOC.OCMode = TIM_OCMODE_PWM1;
  sConfigOC.Pulse = 0;
  sConfigOC.OCPolarity = TIM_OCPOLARITY_HIGH;
  sConfigOC.OCFastMode = TIM_OCFAST_DISABLE;
  if (HAL_TIM_PWM_ConfigChannel(&htim2, &sConfigOC, TIM_CHANNEL_3) != HAL_OK)
  {
    Error_Handler();
  }
  HAL_TIM_MspPostInit(&htim2);

}

static void MX_TIM3_Init(void)
{

  TIM_ClockConfigTypeDef sClockSourceConfig = {0};
  TIM_MasterConfigTypeDef sMasterConfig = {0};
  TIM_OC_InitTypeDef sConfigOC = {0};

  htim3.Instance = TIM3;
  htim3.Init.Prescaler = 39;
  htim3.Init.CounterMode = TIM_COUNTERMODE_UP;
  htim3.Init.Period = 99;
  htim3.Init.ClockDivision = TIM_CLOCKDIVISION_DIV1;
  htim3.Init.AutoReloadPreload = TIM_AUTORELOAD_PRELOAD_ENABLE;
  if (HAL_TIM_Base_Init(&htim3) != HAL_OK)
  {
    Error_Handler();
  }
  sClockSourceConfig.ClockSource = TIM_CLOCKSOURCE_INTERNAL;
  if (HAL_TIM_ConfigClockSource(&htim3, &sClockSourceConfig) != HAL_OK)
  {
    Error_Handler();
  }
  if (HAL_TIM_PWM_Init(&htim3) != HAL_OK)
  {
    Error_Handler();
  }
  sMasterConfig.MasterOutputTrigger = TIM_TRGO_RESET;
  sMasterConfig.MasterSlaveMode = TIM_MASTERSLAVEMODE_DISABLE;
  if (HAL_TIMEx_MasterConfigSynchronization(&htim3, &sMasterConfig) != HAL_OK)
  {
    Error_Handler();
  }
  sConfigOC.OCMode = TIM_OCMODE_PWM1;
  sConfigOC.Pulse = 0;
  sConfigOC.OCPolarity = TIM_OCPOLARITY_HIGH;
  sConfigOC.OCFastMode = TIM_OCFAST_DISABLE;
  if (HAL_TIM_PWM_ConfigChannel(&htim3, &sConfigOC, TIM_CHANNEL_1) != HAL_OK)
  {
    Error_Handler();
  }
  HAL_TIM_MspPostInit(&htim3);

}

static void MX_TIM4_Init(void)
{

  TIM_ClockConfigTypeDef sClockSourceConfig = {0};
  TIM_MasterConfigTypeDef sMasterConfig = {0};
  TIM_OC_InitTypeDef sConfigOC = {0};

  htim4.Instance = TIM4;
  htim4.Init.Prescaler = 39;
  htim4.Init.CounterMode = TIM_COUNTERMODE_UP;
  htim4.Init.Period = 99;
  htim4.Init.ClockDivision = TIM_CLOCKDIVISION_DIV1;
  htim4.Init.AutoReloadPreload = TIM_AUTORELOAD_PRELOAD_ENABLE;
  if (HAL_TIM_Base_Init(&htim4) != HAL_OK)
  {
    Error_Handler();
  }
  sClockSourceConfig.ClockSource = TIM_CLOCKSOURCE_INTERNAL;
  if (HAL_TIM_ConfigClockSource(&htim4, &sClockSourceConfig) != HAL_OK)
  {
    Error_Handler();
  }
  if (HAL_TIM_PWM_Init(&htim4) != HAL_OK)
  {
    Error_Handler();
  }
  sMasterConfig.MasterOutputTrigger = TIM_TRGO_RESET;
  sMasterConfig.MasterSlaveMode = TIM_MASTERSLAVEMODE_DISABLE;
  if (HAL_TIMEx_MasterConfigSynchronization(&htim4, &sMasterConfig) != HAL_OK)
  {
    Error_Handler();
  }
  sConfigOC.OCMode = TIM_OCMODE_PWM1;
  sConfigOC.Pulse = 0;
  sConfigOC.OCPolarity = TIM_OCPOLARITY_HIGH;
  sConfigOC.OCFastMode = TIM_OCFAST_DISABLE;
  if (HAL_TIM_PWM_ConfigChannel(&htim4, &sConfigOC, TIM_CHANNEL_1) != HAL_OK)
  {
    Error_Handler();
  }
  HAL_TIM_MspPostInit(&htim4);

}

static void MX_USART2_UART_Init(void)
{

  huart2.Instance = USART2;
  huart2.Init.BaudRate = 115200;
  huart2.Init.WordLength = UART_WORDLENGTH_8B;
  huart2.Init.StopBits = UART_STOPBITS_1;
  huart2.Init.Parity = UART_PARITY_NONE;
  huart2.Init.Mode = UART_MODE_TX_RX;
  huart2.Init.HwFlowCtl = UART_HWCONTROL_NONE;
  huart2.Init.OverSampling = UART_OVERSAMPLING_16;
  huart2.Init.OneBitSampling = UART_ONE_BIT_SAMPLE_DISABLE;
  huart2.AdvancedInit.AdvFeatureInit = UART_ADVFEATURE_NO_INIT;
  if (HAL_UART_Init(&huart2) != HAL_OK)
  {
    Error_Handler();
  }

}

static void MX_GPIO_Init(void)
{
  GPIO_InitTypeDef GPIO_InitStruct = {0};

  /* GPIO Ports Clock Enable */
  __HAL_RCC_GPIOC_CLK_ENABLE();
  __HAL_RCC_GPIOH_CLK_ENABLE();
  __HAL_RCC_GPIOA_CLK_ENABLE();
  __HAL_RCC_GPIOB_CLK_ENABLE();

  /*Configure GPIO pin Output Level */
  HAL_GPIO_WritePin(GPIOA, LD2_Pin|MOTOR_B_DIRECTION_Pin, GPIO_PIN_RESET);

  /*Configure GPIO pin Output Level */
  HAL_GPIO_WritePin(MOTOR_A_DIRECTION_GPIO_Port, MOTOR_A_DIRECTION_Pin, GPIO_PIN_RESET);

  /*Configure GPIO pin : B1_Pin */
  GPIO_InitStruct.Pin = B1_Pin;
  GPIO_InitStruct.Mode = GPIO_MODE_IT_FALLING;
  GPIO_InitStruct.Pull = GPIO_NOPULL;
  HAL_GPIO_Init(B1_GPIO_Port, &GPIO_InitStruct);

  /*Configure GPIO pins : LD2_Pin MOTOR_B_DIRECTION_Pin */
  GPIO_InitStruct.Pin = LD2_Pin|MOTOR_B_DIRECTION_Pin;
  GPIO_InitStruct.Mode = GPIO_MODE_OUTPUT_PP;
  GPIO_InitStruct.Pull = GPIO_NOPULL;
  GPIO_InitStruct.Speed = GPIO_SPEED_FREQ_LOW;
  HAL_GPIO_Init(GPIOA, &GPIO_InitStruct);

  /*Configure GPIO pin : MOTOR_A_DIRECTION_Pin */
  GPIO_InitStruct.Pin = MOTOR_A_DIRECTION_Pin;
  GPIO_InitStruct.Mode = GPIO_MODE_OUTPUT_PP;
  GPIO_InitStruct.Pull = GPIO_NOPULL;
  GPIO_InitStruct.Speed = GPIO_SPEED_FREQ_LOW;
  HAL_GPIO_Init(MOTOR_A_DIRECTION_GPIO_Port, &GPIO_InitStruct);

}

/* USER CODE BEGIN 4 */
void HAL_UART_RxCpltCallback(UART_HandleTypeDef *huart) {
	if(huart -> Instance == USART2){
		if(receivedSign == '\n'){
			frameReceived[frameCursor] = atoi(messageReceived);
			if(strcmp(frameReceived[0], EMERGENCY_STOP ) == 0) emergencyStop();
			else if(strcmp(frameReceived[0], MOVE_FORWARD) == 0)moveForward();
			else if(strcmp(frameReceived[0], MOVE_REVERSE) == 0)moveReverse();
			else if(strcmp(frameReceived[0], TURN_LEFT) == 0)turnLeft();
			else if(strcmp(frameReceived[0], TURN_RIGHT) == 0)turnRight();
			else if(strcmp(frameReceived[0], SET_MOVMENT_SPEED) == 0)setMovmentSpeed(frameReceived[1], frameReceived[2]);
			else if(strcmp(frameReceived[0], SET_LED_BRIGHTNESS) == 0)setLedBrightness(frameReceived[1]);
			else if(strcmp(frameReceived[0], GET_ROBOT_DATA) == 0){sendRobotData();}
			memset(messageReceived, 0, 50);
			memset(frameReceived, 0, 10);
			messageCursor = 0;
			frameCursor = 0;
		}
		else if(receivedSign == ' '){
			frameReceived[frameCursor++] = atoi(messageReceived);
			messageCursor = 0;
			memset(messageReceived, 0, 50);
		}
		else messageReceived[messageCursor++] = (char)receivedSign;
	HAL_UART_Receive_IT(&huart2, &receivedSign, 1);
	}
}
/* USER CODE END 4 */

void Error_Handler(void)
{
  __disable_irq();
  while (1)
  {
  }
}
